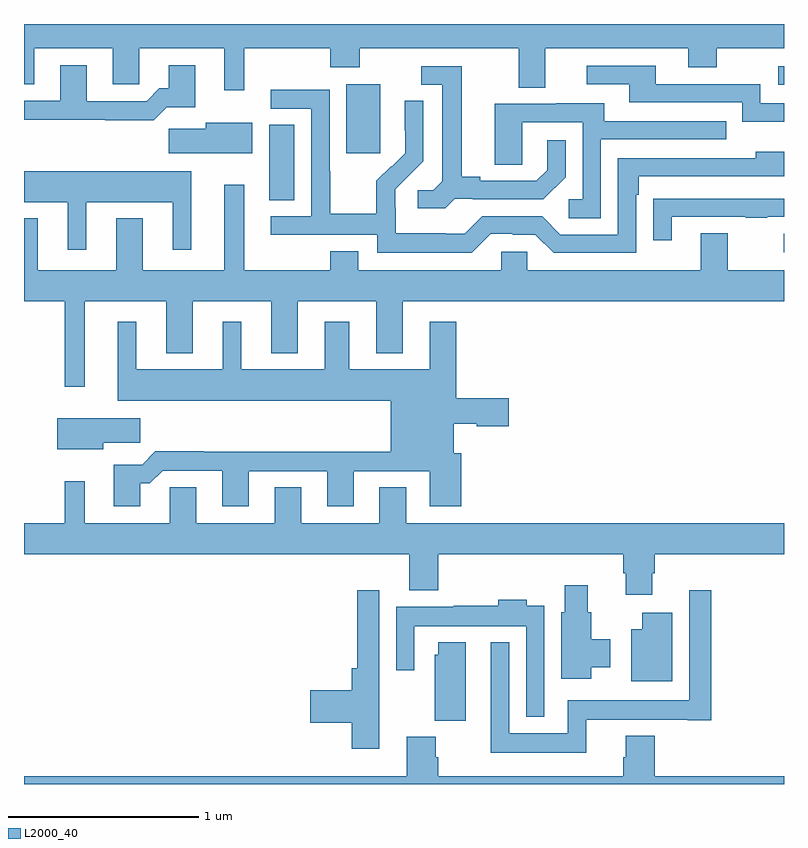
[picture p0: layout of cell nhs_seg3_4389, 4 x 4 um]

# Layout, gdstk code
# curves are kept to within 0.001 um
import gdstk
lib = gdstk.Library(unit=1e-6, precision=1e-09)
def R(c, l, rs):  # rectangles x0, y0, x1, y1
    for r in rs: c.add(gdstk.rectangle(r[:2], r[2:], *l))
def P(c, l, *ps):  # polygons
    for p in ps: c.add(gdstk.Polygon(p, *l))
L2000_40 = (2000, 40)

nhs_seg3_4389 = lib.new_cell('nhs_seg3_4389')
R(nhs_seg3_4389, L2000_40, [(348.999,677.199,349,677.295), (346.292,677.473,346.423,677.87), (346.697,677.721,346.876,678.082), (348.969,678.081,349,678.177)])
P(nhs_seg3_4389, L2000_40, [(345,678.082),(345.055,678.082),(345.055,678.272),(345.467,678.272),(345.467,678.082),(345.606,678.082),(345.606,678.272),(346.055,678.272),(346.055,678.051),(346.159,678.051),(346.159,678.272),(346.612,678.272),(346.612,678.173),(346.767,678.173),(346.767,678.272),(347.603,678.272),(347.603,678.064),(347.743,678.064),(347.743,678.272),(348.497,678.272),(348.497,678.173),(348.645,678.173),(348.645,678.272),(349,678.272),(349,678.4),(345,678.4)],
  [(345.752,677.963),(345.901,677.963),(345.901,678.184),(345.761,678.184),(345.761,678.061),(345.712,678.061),(345.645,677.994),(345.331,677.994),(345.331,678.184),(345.191,678.184),(345.191,677.997),(345,677.997),(345,677.896),(345.427,677.896),(345.427,677.894),(345.683,677.894)],
  [(349,677.982),(348.876,677.982),(348.876,678.084),(348.325,678.084),(348.325,678.18),(347.961,678.18),(347.961,678.084),(348.185,678.084),(348.185,677.988),(348.78,677.988),(348.78,677.885),(349,677.885)],
  [(347.268,677.481),(347.362,677.481),(347.362,677.478),(347.734,677.478),(347.85,677.594),(347.85,677.788),(347.753,677.788),(347.753,677.631),(347.696,677.574),(347.401,677.574),(347.401,677.597),(347.305,677.597),(347.305,678.177),(347.091,678.177),(347.091,678.081),(347.201,678.081),(347.201,677.573),(347.154,677.526),(347.073,677.526),(347.073,677.429),(347.216,677.429)],
  [(347.457,677.295),(347.573,677.295),(347.573,677.292),(347.691,677.292),(347.787,677.196),(348.222,677.196),(348.222,677.501),(348.235,677.501),(348.235,677.598),(349,677.598),(349,677.728),(348.851,677.728),(348.851,677.694),(348.126,677.694),(348.126,677.292),(347.823,677.292),(347.727,677.388),(347.412,677.388),(347.319,677.295),(347.219,677.295),(347.219,677.299),(346.956,677.299),(346.956,677.433),(346.954,677.433),(346.954,677.53),(347.1,677.678),(347.1,677.996),(347.004,677.996),(347.004,677.842),(347.006,677.842),(347.006,677.72),(346.935,677.649),(346.932,677.652),(346.855,677.575),(346.855,677.401),(346.611,677.401),(346.611,677.624),(346.608,677.624),(346.608,678.054),(346.299,678.054),(346.299,677.955),(346.512,677.955),(346.512,677.388),(346.299,677.388),(346.299,677.292),(346.86,677.292),(346.86,677.195),(347.357,677.195)],
  [(348.036,677.793),(348.695,677.793),(348.695,677.889),(348.055,677.889),(348.055,677.983),(347.801,677.983),(347.801,677.979),(347.477,677.979),(347.477,677.659),(347.622,677.659),(347.622,677.883),(347.94,677.883),(347.94,677.478),(347.868,677.478),(347.868,677.377),(348.036,677.377)],
  [(346.201,677.881),(345.956,677.881),(345.956,677.849),(345.762,677.849),(345.762,677.72),(346.201,677.72)],
  [(345.328,677.462),(345.782,677.462),(345.782,677.211),(345.88,677.211),(345.88,677.626),(345,677.626),(345,677.462),(345.23,677.462),(345.23,677.211),(345.328,677.211)],
  [(345.319,676.94),(345.749,676.94),(345.749,676.667),(345.889,676.667),(345.889,676.94),(346.301,676.94),(346.301,676.667),(346.441,676.667),(346.441,676.94),(346.853,676.94),(346.853,676.667),(346.993,676.667),(346.993,676.94),(349,676.94),(349,677.104),(348.703,677.104),(348.703,677.299),(348.563,677.299),(348.563,677.104),(347.649,677.104),(347.649,677.202),(347.511,677.202),(347.511,677.104),(346.759,677.104),(346.759,677.203),(346.612,677.203),(346.612,677.104),(346.159,677.104),(346.159,677.554),(346.055,677.554),(346.055,677.104),(345.625,677.104),(345.625,677.377),(345.485,677.377),(345.485,677.104),(345.073,677.104),(345.073,677.377),(345,677.377),(345,676.94),(345.215,676.94),(345.215,676.491),(345.319,676.491)],
  [(348.409,677.385),(348.799,677.385),(348.799,677.38),(348.911,677.38),(348.911,677.385),(349,677.385),(349,677.481),(348.415,677.481),(348.415,677.48),(348.313,677.48),(348.313,677.262),(348.409,677.262)],
  [(345.613,675.983),(345.662,675.983),(345.729,676.05),(346.043,676.05),(346.043,675.861),(346.183,675.861),(346.183,676.047),(346.595,676.047),(346.595,675.861),(346.735,675.861),(346.735,676.047),(347.135,676.047),(347.135,675.861),(347.3,675.861),(347.3,676.14),(347.263,676.14),(347.263,676.295),(347.383,676.295),(347.383,676.283),(347.551,676.283),(347.551,676.43),(347.276,676.43),(347.276,676.834),(347.135,676.834),(347.135,676.582),(346.711,676.582),(346.711,676.834),(346.583,676.834),(346.583,676.582),(346.144,676.582),(346.144,676.834),(346.046,676.834),(346.046,676.582),(345.592,676.582),(345.592,676.834),(345.494,676.834),(345.494,676.418),(346.931,676.418),(346.931,676.148),(345.947,676.148),(345.947,676.151),(345.692,676.151),(345.622,676.081),(345.473,676.081),(345.473,675.861),(345.613,675.861)],
  [(345.418,676.195),(345.613,676.195),(345.613,676.324),(345.174,676.324),(345.174,676.163),(345.418,676.163)],
  [(348.307,675.51),(348.32,675.51),(348.32,675.608),(349,675.608),(349,675.772),(347.011,675.772),(347.011,675.962),(346.871,675.962),(346.871,675.772),(346.459,675.772),(346.459,675.962),(346.319,675.962),(346.319,675.772),(345.907,675.772),(345.907,675.962),(345.768,675.962),(345.768,675.772),(345.319,675.772),(345.319,675.994),(345.215,675.994),(345.215,675.772),(345,675.772),(345,675.608),(347.027,675.608),(347.027,675.419),(347.18,675.419),(347.18,675.608),(348.155,675.608),(348.155,675.51),(348.167,675.51),(348.167,675.396),(348.307,675.396)],
  [(347.986,675.014),(348.085,675.014),(348.085,675.162),(347.986,675.162),(347.986,675.303),(347.968,675.303),(347.968,675.445),(347.846,675.445),(347.846,675.303),(347.828,675.303),(347.828,674.955),(347.986,674.955)],
  [(346.87,674.877),(346.869,674.877),(346.869,675.421),(346.753,675.421),(346.753,675.01),(346.724,675.01),(346.724,674.894),(346.506,674.894),(346.506,674.723),(346.724,674.723),(346.724,674.586),(346.87,674.586)],
  [(347.96,674.738),(348.494,674.738),(348.494,674.736),(348.617,674.736),(348.617,675.421),(348.501,675.421),(348.501,674.842),(347.862,674.842),(347.862,674.668),(347.553,674.668),(347.553,675.145),(347.456,675.145),(347.456,674.564),(347.96,674.564)],
  [(347.739,675.337),(347.647,675.337),(347.647,675.37),(347.495,675.37),(347.495,675.337),(347.263,675.337),(347.263,675.334),(346.959,675.334),(346.959,675),(347.055,675),(347.055,675.23),(347.643,675.23),(347.643,674.753),(347.739,674.753)],
  [(348.412,675.301),(348.254,675.301),(348.254,675.214),(348.197,675.214),(348.197,674.942),(348.412,674.942)],
  [(347.326,675.145),(347.18,675.145),(347.18,675.081),(347.162,675.081),(347.162,674.734),(347.326,674.734)],
  [(349,674.44),(348.32,674.44),(348.32,674.653),(348.167,674.653),(348.167,674.541),(348.155,674.541),(348.155,674.44),(347.18,674.44),(347.18,674.54),(347.167,674.54),(347.167,674.649),(347.015,674.649),(347.015,674.44),(345,674.44),(345,674.4),(349,674.4)])

lib.write_gds('nhs_seg3_4389.gds')
